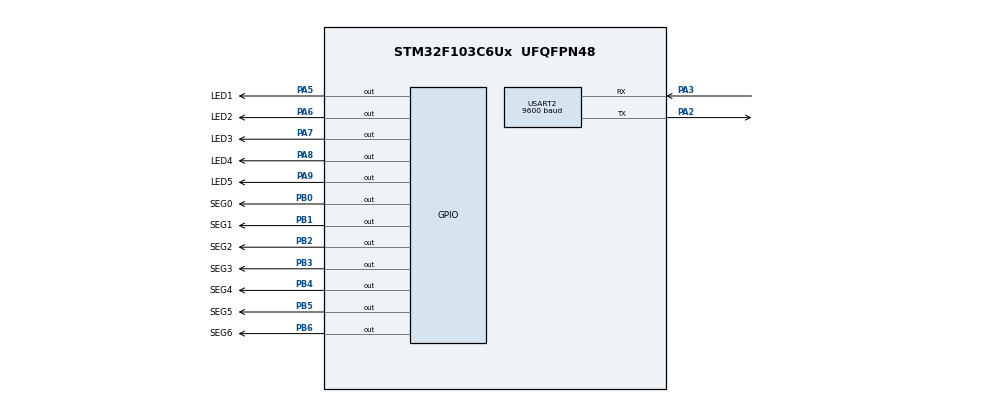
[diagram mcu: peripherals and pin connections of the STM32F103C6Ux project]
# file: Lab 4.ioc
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Mcu.Family=STM32F1
Mcu.Name=STM32F103C6Ux
Mcu.Package=UFQFPN48
NVIC.PriorityGroup=NVIC_PRIORITYGROUP_4
NVIC.TIM2_IRQn=true\:0\:0\:false\:false\:true\:true\:true\:true
NVIC.USART2_IRQn=true\:0\:0\:false\:false\:true\:true\:true\:true
PA2.Mode=Asynchronous
PA2.Signal=USART2_TX
PA3.Mode=Asynchronous
PA3.Signal=USART2_RX
PA5.GPIO_Label=LED1
PA5.PinState=GPIO_PIN_SET
PA5.Signal=GPIO_Output
PA6.GPIO_Label=LED2
PA6.PinState=GPIO_PIN_SET
PA6.Signal=GPIO_Output
PA7.GPIO_Label=LED3
PA7.PinState=GPIO_PIN_SET
PA7.Signal=GPIO_Output
PA8.GPIO_Label=LED4
PA8.PinState=GPIO_PIN_SET
PA8.Signal=GPIO_Output
PA9.GPIO_Label=LED5
PA9.PinState=GPIO_PIN_SET
PA9.Signal=GPIO_Output
PB0.GPIO_Label=SEG0
PB0.Signal=GPIO_Output
PB1.GPIO_Label=SEG1
PB1.Signal=GPIO_Output
PB2.GPIO_Label=SEG2
PB2.Signal=GPIO_Output
PB3.GPIO_Label=SEG3
PB3.Signal=GPIO_Output
PB4.GPIO_Label=SEG4
PB4.Signal=GPIO_Output
PB5.GPIO_Label=SEG5
PB5.Signal=GPIO_Output
PB6.GPIO_Label=SEG6
PB6.Signal=GPIO_Output
ProjectManager.HeapSize=0x200
ProjectManager.StackSize=0x400
ProjectManager.TargetToolchain=STM32CubeIDE
RCC.APB1Freq_Value=8000000
RCC.APB2Freq_Value=8000000
TIM2.Period=9
TIM2.Prescaler=7999
USART2.BaudRate=9600
USART2.VirtualMode=VM_ASYNC
VP_TIM2_VS_ClockSourceINT.Mode=Internal
board=custom

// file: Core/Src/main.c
/* USER CODE BEGIN Header */
/**
 ******************************************************************************
 * @file           : main.c
 * @brief          : Main program body
 ******************************************************************************
 * @attention
 *
 * Copyright (c) 2022 STMicroelectronics.
 * All rights reserved.
 *
 * This software is licensed under terms that can be found in the LICENSE file
 * in the root directory of this software component.
 * If no LICENSE file comes with this software, it is provided AS-IS.
 *
 ******************************************************************************
 */
/* USER CODE END Header */
#include "main.h"
#include "global.h"
/* USER CODE BEGIN Includes */
#include <stdio.h>
#include "scheduler.h"
#include "task.h"
/* USER CODE END Includes */

TIM_HandleTypeDef htim2;

void SystemClock_Config(void);
static void MX_GPIO_Init(void);
static void MX_TIM2_Init(void);
static void MX_USART2_UART_Init(void);

/* USER CODE BEGIN 0 */
uint8_t temp = 0;
void HAL_UART_RxCpltCallback(UART_HandleTypeDef *huart)
{
	if (huart->Instance == USART2)
	{
		HAL_UART_Transmit(&huart2, &temp, 1, 50);
		HAL_UART_Receive_IT(&huart2, &temp, 1);
	}
}
/* USER CODE END 0 */

int main(void)
{

	/* MCU Configuration--------------------------------------------------------*/

	/* Reset of all peripherals, Initializes the Flash interface and the Systick. */
	HAL_Init();

	/* Configure the system clock */
	SystemClock_Config();

	/* Initialize all configured peripherals */
	MX_GPIO_Init();
	MX_TIM2_Init();
	MX_USART2_UART_Init();
	HAL_UART_Receive_IT(&huart2, &temp, 1);
	/* USER CODE BEGIN 2 */
	HAL_TIM_Base_Start_IT(&htim2);
	SCH_Init();
	SCH_Add_Task(display7SEG, 100, 1000);
	SCH_Add_Task(toggle_red, 100, 500);
	SCH_Add_Task(toggle_green, 100, 1000);
	SCH_Add_Task(toggle_yellow, 100, 1500);
	SCH_Add_Task(toggle_orange, 100, 2000);
	SCH_Add_Task(toggle_pink, 100, 0);
	/* USER CODE END 2 */

	/* Infinite loop */
	/* USER CODE BEGIN WHILE */
	while (1)
	{
		SCH_Dispatch_Tasks();
		/* USER CODE END WHILE */

	}
}

void SystemClock_Config(void)
{
	RCC_OscInitTypeDef RCC_OscInitStruct = {0};
	RCC_ClkInitTypeDef RCC_ClkInitStruct = {0};

	/** Initializes the RCC Oscillators according to the specified parameters
	 * in the RCC_OscInitTypeDef structure.
	 */
	RCC_OscInitStruct.OscillatorType = RCC_OSCILLATORTYPE_HSI;
	RCC_OscInitStruct.HSIState = RCC_HSI_ON;
	RCC_OscInitStruct.HSICalibrationValue = RCC_HSICALIBRATION_DEFAULT;
	RCC_OscInitStruct.PLL.PLLState = RCC_PLL_NONE;
	if (HAL_RCC_OscConfig(&RCC_OscInitStruct) != HAL_OK)
	{
		Error_Handler();
	}

	/** Initializes the CPU, AHB and APB buses clocks
	 */
	RCC_ClkInitStruct.ClockType = RCC_CLOCKTYPE_HCLK|RCC_CLOCKTYPE_SYSCLK
			|RCC_CLOCKTYPE_PCLK1|RCC_CLOCKTYPE_PCLK2;
	RCC_ClkInitStruct.SYSCLKSource = RCC_SYSCLKSOURCE_HSI;
	RCC_ClkInitStruct.AHBCLKDivider = RCC_SYSCLK_DIV1;
	RCC_ClkInitStruct.APB1CLKDivider = RCC_HCLK_DIV1;
	RCC_ClkInitStruct.APB2CLKDivider = RCC_HCLK_DIV1;

	if (HAL_RCC_ClockConfig(&RCC_ClkInitStruct, FLASH_LATENCY_0) != HAL_OK)
	{
		Error_Handler();
	}
}

static void MX_TIM2_Init(void)
{

	TIM_ClockConfigTypeDef sClockSourceConfig = {0};
	TIM_MasterConfigTypeDef sMasterConfig = {0};

	htim2.Instance = TIM2;
	htim2.Init.Prescaler = 7999;
	htim2.Init.CounterMode = TIM_COUNTERMODE_UP;
	htim2.Init.Period = 9;
	htim2.Init.ClockDivision = TIM_CLOCKDIVISION_DIV1;
	htim2.Init.AutoReloadPreload = TIM_AUTORELOAD_PRELOAD_DISABLE;
	if (HAL_TIM_Base_Init(&htim2) != HAL_OK)
	{
		Error_Handler();
	}
	sClockSourceConfig.ClockSource = TIM_CLOCKSOURCE_INTERNAL;
	if (HAL_TIM_ConfigClockSource(&htim2, &sClockSourceConfig) != HAL_OK)
	{
		Error_Handler();
	}
	sMasterConfig.MasterOutputTrigger = TIM_TRGO_RESET;
	sMasterConfig.MasterSlaveMode = TIM_MASTERSLAVEMODE_DISABLE;
	if (HAL_TIMEx_MasterConfigSynchronization(&htim2, &sMasterConfig) != HAL_OK)
	{
		Error_Handler();
	}

}

static void MX_USART2_UART_Init(void)
{

	huart2.Instance = USART2;
	huart2.Init.BaudRate = 9600;
	huart2.Init.WordLength = UART_WORDLENGTH_8B;
	huart2.Init.StopBits = UART_STOPBITS_1;
	huart2.Init.Parity = UART_PARITY_NONE;
	huart2.Init.Mode = UART_MODE_TX_RX;
	huart2.Init.HwFlowCtl = UART_HWCONTROL_NONE;
	huart2.Init.OverSampling = UART_OVERSAMPLING_16;
	if (HAL_UART_Init(&huart2) != HAL_OK)
	{
		Error_Handler();
	}

}

static void MX_GPIO_Init(void)
{
	GPIO_InitTypeDef GPIO_InitStruct = {0};

	/* GPIO Ports Clock Enable */
	__HAL_RCC_GPIOA_CLK_ENABLE();
	__HAL_RCC_GPIOB_CLK_ENABLE();

	/*Configure GPIO pin Output Level */
	HAL_GPIO_WritePin(GPIOA, LED1_Pin|LED2_Pin|LED3_Pin|LED4_Pin
			|LED5_Pin, GPIO_PIN_SET);

	/*Configure GPIO pin Output Level */
	HAL_GPIO_WritePin(GPIOB, SEG0_Pin|SEG1_Pin|SEG2_Pin|SEG3_Pin
			|SEG4_Pin|SEG5_Pin|SEG6_Pin, GPIO_PIN_RESET);

	/*Configure GPIO pins : LED1_Pin LED2_Pin LED3_Pin LED4_Pin
                           LED5_Pin */
	GPIO_InitStruct.Pin = LED1_Pin|LED2_Pin|LED3_Pin|LED4_Pin
			|LED5_Pin;
	GPIO_InitStruct.Mode = GPIO_MODE_OUTPUT_PP;
	GPIO_InitStruct.Pull = GPIO_NOPULL;
	GPIO_InitStruct.Speed = GPIO_SPEED_FREQ_LOW;
	HAL_GPIO_Init(GPIOA, &GPIO_InitStruct);

	/*Configure GPIO pins : SEG0_Pin SEG1_Pin SEG2_Pin SEG3_Pin
                           SEG4_Pin SEG5_Pin SEG6_Pin */
	GPIO_InitStruct.Pin = SEG0_Pin|SEG1_Pin|SEG2_Pin|SEG3_Pin
			|SEG4_Pin|SEG5_Pin|SEG6_Pin;
	GPIO_InitStruct.Mode = GPIO_MODE_OUTPUT_PP;
	GPIO_InitStruct.Pull = GPIO_NOPULL;
	GPIO_InitStruct.Speed = GPIO_SPEED_FREQ_LOW;
	HAL_GPIO_Init(GPIOB, &GPIO_InitStruct);

}

/* USER CODE BEGIN 4 */
void HAL_TIM_PeriodElapsedCallback(TIM_HandleTypeDef *htim)
{
	SCH_Update();
}
/* USER CODE END 4 */

void Error_Handler(void)
{
	__disable_irq();
	while (1)
	{
	}
}
